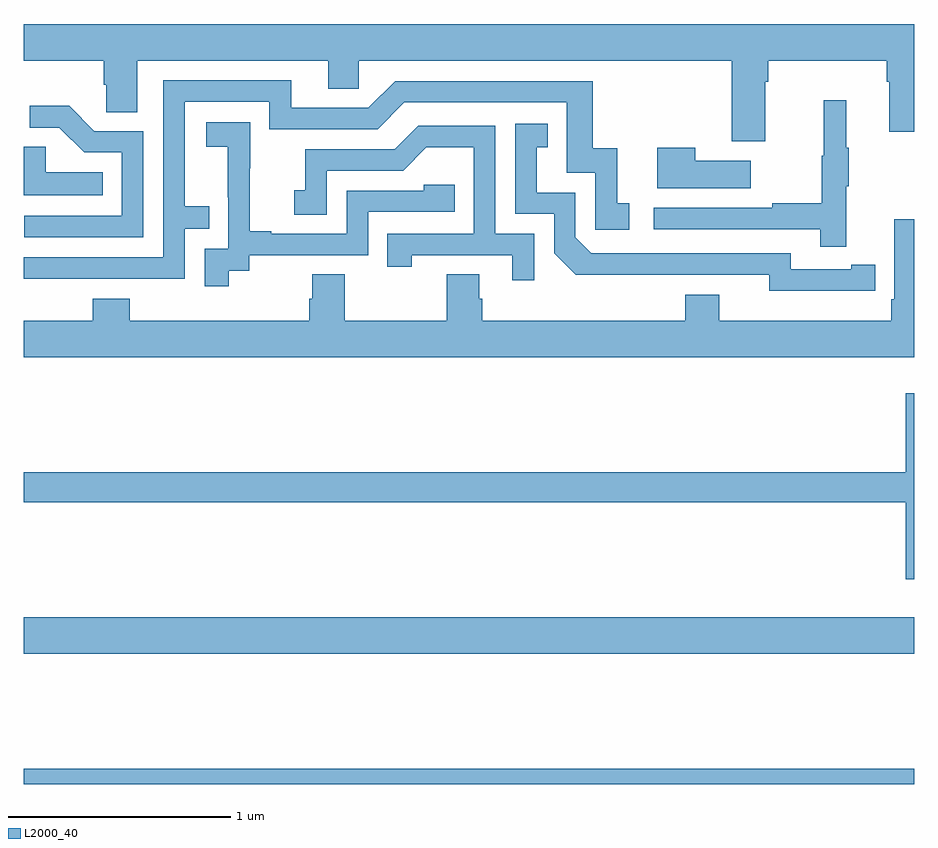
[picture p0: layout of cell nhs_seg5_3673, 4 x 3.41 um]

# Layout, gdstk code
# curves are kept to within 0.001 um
import gdstk
lib = gdstk.Library(unit=1e-6, precision=1e-09)
def R(c, l, rs):  # rectangles x0, y0, x1, y1
    for r in rs: c.add(gdstk.rectangle(r[:2], r[2:], *l))
def P(c, l, *ps):  # polygons
    for p in ps: c.add(gdstk.Polygon(p, *l))
L2000_40 = (2000, 40)

nhs_seg5_3673 = lib.new_cell('nhs_seg5_3673')
R(nhs_seg5_3673, L2000_40, [(327,898.799,331,898.868), (327,899.384,331,899.548)])
P(nhs_seg5_3673, L2000_40, [(330.331,901.952),(330.344,901.952),(330.344,902.048),(330.875,902.048),(330.875,901.952),(330.887,901.952),(330.887,901.728),(331,901.728),(331,902.212),(327,902.212),(327,902.048),(327.359,902.048),(327.359,901.939),(327.372,901.939),(327.372,901.816),(327.511,901.816),(327.511,902.048),(328.367,902.048),(328.367,901.921),(328.506,901.921),(328.506,902.048),(330.179,902.048),(330.179,901.686),(330.331,901.686)],
  [(327.227,901.068),(327.723,901.068),(327.723,901.293),(327.833,901.293),(327.833,901.394),(327.723,901.394),(327.723,901.863),(328.104,901.863),(328.104,901.74),(328.59,901.74),(328.71,901.86),(329.439,901.86),(329.439,901.545),(329.568,901.545),(329.568,901.287),(329.719,901.287),(329.719,901.407),(329.666,901.407),(329.666,901.654),(329.555,901.654),(329.555,901.956),(328.668,901.956),(328.548,901.836),(328.201,901.836),(328.201,901.959),(327.627,901.959),(327.627,901.164),(327,901.164),(327,901.067)],
  [(330.695,901.483),(330.706,901.483),(330.706,901.657),(330.695,901.657),(330.695,901.87),(330.592,901.87),(330.592,901.62),(330.585,901.62),(330.585,901.406),(330.361,901.406),(330.361,901.386),(329.829,901.386),(329.829,901.29),(330.577,901.29),(330.577,901.212),(330.695,901.212)],
  [(327.537,901.731),(327.318,901.731),(327.205,901.844),(327.027,901.844),(327.027,901.746),(327.161,901.746),(327.272,901.635),(327.441,901.635),(327.441,901.35),(327.003,901.35),(327.003,901.254),(327.537,901.254)],
  [(327.922,901.105),(328.014,901.105),(328.014,901.173),(328.548,901.173),(328.548,901.368),(328.937,901.368),(328.937,901.491),(328.797,901.491),(328.797,901.464),(328.452,901.464),(328.452,901.269),(328.111,901.269),(328.111,901.282),(328.016,901.282),(328.016,901.565),(328.017,901.565),(328.017,901.771),(327.819,901.771),(327.819,901.661),(327.917,901.661),(327.917,901.433),(327.918,901.433),(327.918,901.203),(327.813,901.203),(327.813,901.035),(327.922,901.035)],
  [(330.716,901.014),(330.824,901.014),(330.824,901.13),(330.716,901.13),(330.716,901.11),(330.444,901.11),(330.444,901.182),(329.55,901.182),(329.478,901.254),(329.478,901.455),(329.305,901.455),(329.305,901.659),(329.354,901.659),(329.354,901.765),(329.208,901.765),(329.208,901.359),(329.382,901.359),(329.382,901.182),(329.48,901.085),(330.348,901.086),(330.348,901.013)],
  [(329.292,901.269),(329.118,901.269),(329.118,901.755),(328.772,901.755),(328.667,901.65),(328.264,901.65),(328.264,901.465),(328.215,901.465),(328.215,901.356),(328.362,901.356),(328.362,901.554),(328.704,901.554),(328.808,901.658),(329.022,901.658),(329.022,901.269),(328.633,901.269),(328.633,901.122),(328.744,901.122),(328.744,901.173),(329.195,901.173),(329.195,901.062),(329.292,901.062)],
  [(327.356,901.546),(327.099,901.546),(327.099,901.661),(327,901.661),(327,901.442),(327.356,901.442)],
  [(330.265,901.597),(330.017,901.597),(330.017,901.657),(329.846,901.657),(329.846,901.475),(330.265,901.475)],
  [(331,901.336),(330.909,901.336),(330.909,900.976),(330.896,900.976),(330.896,900.88),(330.124,900.88),(330.124,900.997),(329.972,900.997),(329.972,900.88),(329.06,900.88),(329.06,900.978),(329.047,900.978),(329.047,901.088),(328.9,901.088),(328.9,900.88),(328.443,900.88),(328.443,901.088),(328.295,901.088),(328.295,900.978),(328.283,900.978),(328.283,900.88),(327.476,900.88),(327.476,900.979),(327.311,900.979),(327.311,900.88),(327,900.88),(327,900.716),(331,900.716)],
  [(331,900.553),(330.962,900.553),(330.962,900.2),(327,900.2),(327,900.064),(330.962,900.064),(330.962,899.718),(331,899.718)])

lib.write_gds('nhs_seg5_3673.gds')
